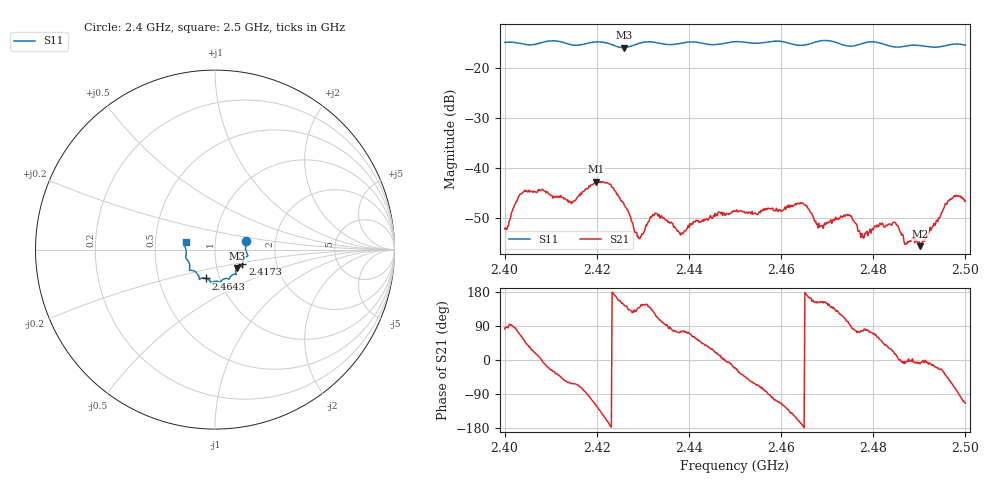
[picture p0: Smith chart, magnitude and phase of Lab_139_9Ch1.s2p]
# Hz S RI R 50
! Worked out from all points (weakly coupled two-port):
!   601 points, 2.4 GHz to 2.5 GHz, reference 50 ohm
!   highest |S21| = -42.69 dB at 2.4198 GHz (marker M1); lowest = -55.6 dB at 2.4902 GHz (marker M2)
!   lowest |S11| = -15.9 dB at 2.4258 GHz (marker M3), VSWR 1.38, Z = 62.3 - j13.2 ohm
!   |S11| at or under -10 dB: start of sweep to end of sweep
!   S12 and S22 are empty: the file has one direction only
!   S11 on the Smith chart (normalised r, x): 2.4 GHz: 1.41, +0.14; 2.4173 GHz: 1.34, -0.23; 2.4643 GHz: 0.86, -0.28; 2.5 GHz: 0.72, +0.06
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2.4e9  0.1732 0.0491  0.000341 0.00244  0 0  0 0
2.404333e9  0.171 0.0211  0.00377 0.00465  0 0  0 0
2.414333e9  0.1637 -0.0495  0.00213 -0.00408  0 0  0 0
2.416667e9  0.1533 -0.0748  0.00154 -0.00525  0 0  0 0
2.417333e9  0.1524 -0.0823  0.000765 -0.00588  0 0  0 0
2.419833e9  0.1539 -0.0976  -0.00361 -0.00638  0 0  0 0
2.422667e9  0.1472 -0.0939  -0.00677 -0.00144  0 0  0 0
2.425833e9  0.1214 -0.1034  -0.00369 0.00248  0 0  0 0
2.429167e9  0.1161 -0.132  -0.00146 0.00132  0 0  0 0
2.433333e9  0.1127 -0.1369  -0.00115 0.00312  0 0  0 0
2.438333e9  0.0817 -0.1561  0.000593 0.00216  0 0  0 0
2.45e9  0.0294 -0.1806  0.00348 -0.00128  0 0  0 0
2.464333e9  -0.05 -0.1605  -0.0043 -0.00096  0 0  0 0
2.466667e9  -0.0759 -0.1596  -0.00316 0.00148  0 0  0 0
2.468833e9  -0.0872 -0.1658  -0.00235 0.0012  0 0  0 0
2.474833e9  -0.1046 -0.1279  -0.000283 0.0034  0 0  0 0
2.477667e9  -0.1324 -0.1159  0.000486 0.00208  0 0  0 0
2.483333e9  -0.1407 -0.0898  0.00236 0.00144  0 0  0 0
2.487167e9  -0.1562 -0.0556  0.00177 -0.000113  0 0  0 0
2.490167e9  -0.1625 -0.04  0.00163 -0.000296  0 0  0 0
2.496667e9  -0.1693 0.024  0.00276 -0.00393  0 0  0 0
2.5e9  -0.1637 0.0419  -0.0019 -0.00428  0 0  0 0
